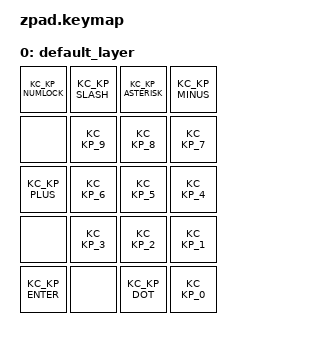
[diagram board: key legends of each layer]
#include <behaviors.dtsi>
#include <dt-bindings/zmk/keys.h>

/ {
    keymap {
        compatible = "zmk,keymap";

        default_layer {
            bindings = <
                &kp KC_KP_NUMLOCK  &kp KC_KP_SLASH    &kp KC_KP_ASTERISK &kp KC_KP_MINUS
                &none              &kp KC_KP_9         &kp KC_KP_8        &kp KC_KP_7
                &kp KC_KP_PLUS     &kp KC_KP_6         &kp KC_KP_5        &kp KC_KP_4
                &none              &kp KC_KP_3         &kp KC_KP_2        &kp KC_KP_1
                &kp KC_KP_ENTER    &none               &kp KC_KP_DOT      &kp KC_KP_0
            >;
        };
    };
};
